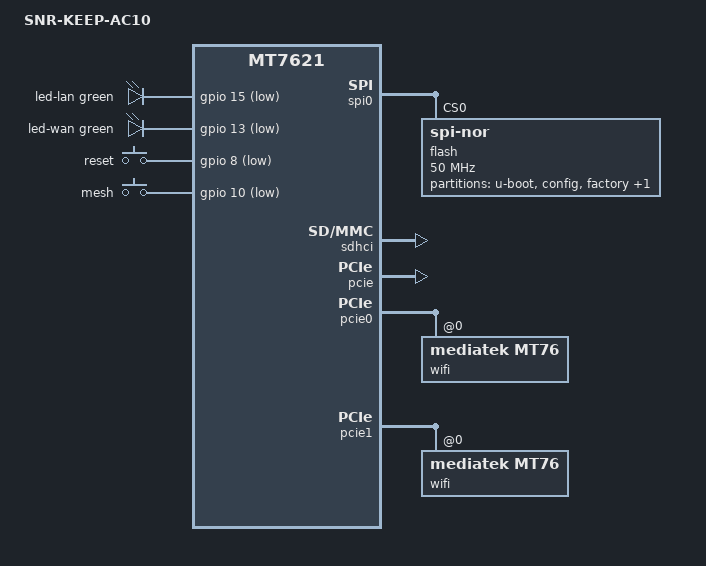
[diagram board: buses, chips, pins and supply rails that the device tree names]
// SPDX-License-Identifier: GPL-2.0-or-later OR MIT
#include "mt7621.dtsi"

#include <dt-bindings/gpio/gpio.h>
#include <dt-bindings/input/input.h>
#include <dt-bindings/leds/common.h>

/ {
	compatible = "snr,snr-keep-ac10", "mediatek,mt7621-soc";
	model = "SNR-KEEP-AC10";

	leds {
		compatible = "gpio-leds";

		led-lan {
			color = <LED_COLOR_ID_GREEN>;
			function = LED_FUNCTION_LAN;
			gpios = <&gpio 15 GPIO_ACTIVE_LOW>;
		};

		led-wan {
			color = <LED_COLOR_ID_GREEN>;
			function = LED_FUNCTION_WAN;
			gpios = <&gpio 13 GPIO_ACTIVE_LOW>;
		};
	};

	keys {
		compatible = "gpio-keys";

		reset {
			label = "reset";
			gpios = <&gpio 8 GPIO_ACTIVE_LOW>;
			linux,code = <KEY_RESTART>;
		};

		mesh {
			label = "mesh";
			gpios = <&gpio 10 GPIO_ACTIVE_LOW>;
			linux,code = <KEY_WPS_BUTTON>;
		};
	};
};

&state_default {
	gpio {
		groups = "jtag", "wdt";
		function = "gpio";
	};
};

&gdma {
	status = "okay";
};

&spi0 {
	status = "okay";

	flash@0 {
		compatible = "jedec,spi-nor";
		reg = <0>;
		spi-max-frequency = <50000000>;

		partitions {
			compatible = "fixed-partitions";
			#address-cells = <1>;
			#size-cells = <1>;

			partition@0 {
				label = "u-boot";
				reg = <0x0 0x30000>;
				read-only;
			};

			partition@30000 {
				label = "config";
				reg = <0x30000 0x10000>;
			};

			partition@40000 {
				label = "factory";
				reg = <0x40000 0x10000>;
				read-only;

				nvmem-layout {
					compatible = "fixed-layout";
					#address-cells = <1>;
					#size-cells = <1>;

					eeprom_factory_0: eeprom@0 {
						reg = <0x0 0x400>;
					};

					eeprom_factory_8000: eeprom@8000 {
						reg = <0x8000 0x4da8>;
					};

					macaddr_factory_e000: macaddr@e000 {
						reg = <0xe000 0x6>;
					};

					macaddr_factory_e006: macaddr@e006 {
						reg = <0xe006 0x6>;
					};
				};
			};

			partition@50000 {
				compatible = "denx,uimage";
				label = "firmware";
				reg = <0x50000 0xfb0000>;
			};
		};
	};
};

&sdhci {
	status = "okay";
};

&gmac0 {
	nvmem-cells = <&macaddr_factory_e000>;
	nvmem-cell-names = "mac-address";
};

&switch0 {
	ports {
		wan: port@3 {
			status = "okay";
			label = "wan";

			nvmem-cells = <&macaddr_factory_e006>;
			nvmem-cell-names = "mac-address";
		};
		lan: port@4 {
				status = "okay";
				label = "lan";
		};
	};
};

&pcie {
	status = "okay";
};

&pcie0 {
	wifi@0,0 {
		compatible = "mediatek,mt76";
		reg = <0x0000 0 0 0 0>;
		nvmem-cells = <&eeprom_factory_0>;
		nvmem-cell-names = "eeprom";
		ieee80211-freq-limit = <2400000 2500000>;
	};
};

&pcie1 {
	wifi@0,0 {
		compatible = "mediatek,mt76";
		reg = <0x0000 0 0 0 0>;
		nvmem-cells = <&eeprom_factory_8000>;
		nvmem-cell-names = "eeprom";
		ieee80211-freq-limit = <5000000 6000000>;
	};
};
